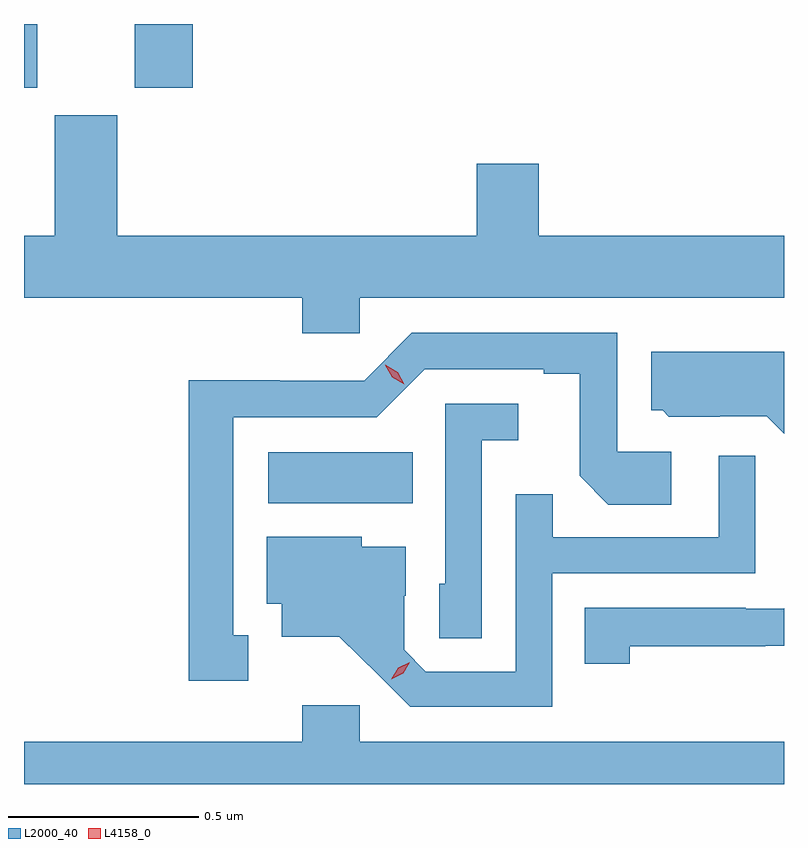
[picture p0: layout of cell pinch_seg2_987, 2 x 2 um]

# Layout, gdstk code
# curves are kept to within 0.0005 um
import gdstk
lib = gdstk.Library(unit=1e-6, precision=1e-09)
def R(c, l, rs):  # rectangles x0, y0, x1, y1
    for r in rs: c.add(gdstk.rectangle(r[:2], r[2:], *l))
def P(c, l, *ps):  # polygons
    for p in ps: c.add(gdstk.Polygon(p, *l))
L2000_40 = (2000, 40)
L4158_0 = (4158, 0)

pinch_seg2_987 = lib.new_cell('pinch_seg2_987')
R(pinch_seg2_987, L2000_40, [(320.304,640.436,320.684,640.57), (319.661,641.529,319.696,641.697), (319.952,641.529,320.105,641.697)])
P(pinch_seg2_987, L2000_40, [(320.544,640.976),(321.661,640.976),(321.661,641.14),(321.016,641.14),(321.016,641.329),(320.852,641.329),(320.852,641.14),(319.906,641.14),(319.906,641.457),(319.742,641.457),(319.742,641.14),(319.661,641.14),(319.661,640.976),(320.393,640.976),(320.393,640.883),(320.544,640.883)],
  [(320.251,640.089),(320.212,640.089),(320.212,640.662),(320.589,640.662),(320.715,640.788),(321.029,640.788),(321.029,640.776),(321.123,640.776),(321.123,640.508),(321.199,640.432),(321.364,640.432),(321.364,640.572),(321.222,640.572),(321.222,640.884),(320.682,640.884),(320.556,640.758),(320.334,640.758),(320.334,640.76),(320.094,640.76),(320.094,639.969),(320.251,639.969)],
  [(321.661,640.834),(321.311,640.834),(321.311,640.68),(321.342,640.68),(321.358,640.664),(321.492,640.664),(321.492,640.665),(321.615,640.665),(321.661,640.619)],
  [(320.865,640.601),(320.962,640.601),(320.962,640.698),(320.769,640.698),(320.769,640.224),(320.754,640.224),(320.754,640.081),(320.865,640.081)],
  [(321.051,640.251),(321.585,640.251),(321.585,640.561),(321.489,640.561),(321.489,640.347),(321.053,640.347),(321.053,640.46),(320.955,640.46),(320.955,639.993),(320.718,639.993),(320.661,640.05),(320.661,640.192),(320.665,640.192),(320.665,640.321),(320.55,640.321),(320.55,640.348),(320.3,640.348),(320.3,640.172),(320.339,640.172),(320.339,640.085),(320.491,640.085),(320.678,639.9),(321.051,639.9)],
  [(321.255,640.06),(321.611,640.06),(321.611,640.061),(321.661,640.061),(321.661,640.159),(321.66,640.158),(321.56,640.158),(321.56,640.161),(321.136,640.161),(321.136,640.014),(321.255,640.014)],
  [(321.661,639.808),(320.544,639.808),(320.544,639.904),(320.393,639.904),(320.393,639.808),(319.661,639.808),(319.661,639.697),(321.661,639.697)])
P(pinch_seg2_987, L4158_0, [(320.628,639.973),(320.628,639.973),(320.646,640.003),(320.676,640.018),(320.676,640.018),(320.676,640.018),(320.659,639.988),(320.628,639.973)],
  [(320.662,640.749),(320.63,640.767),(320.612,640.799),(320.612,640.8),(320.612,640.8),(320.644,640.781),(320.662,640.749),(320.662,640.749)])

lib.write_gds('pinch_seg2_987.gds')
